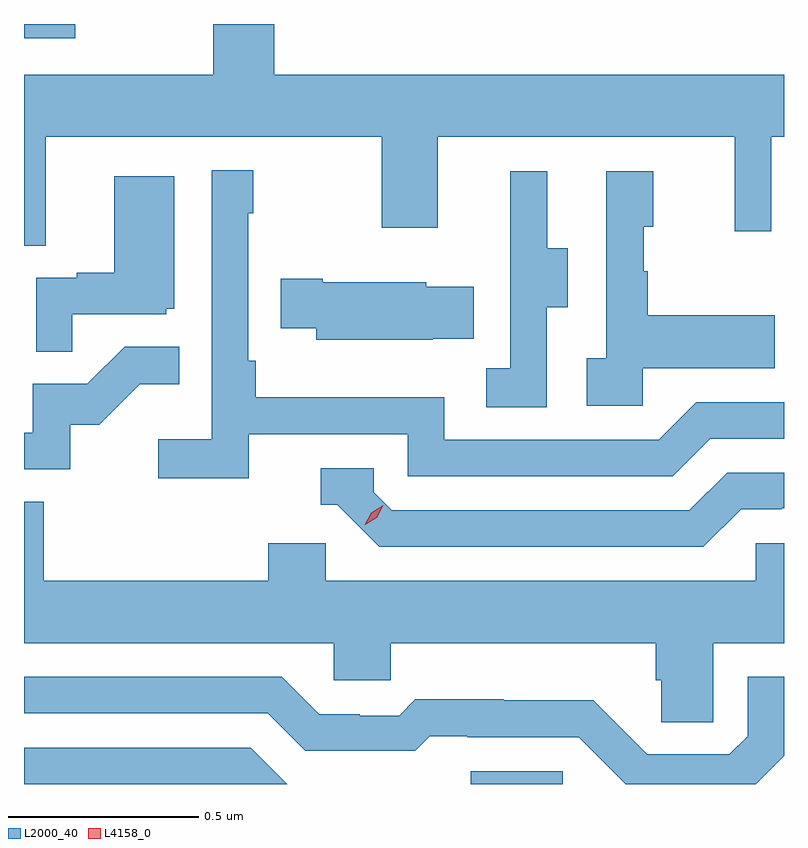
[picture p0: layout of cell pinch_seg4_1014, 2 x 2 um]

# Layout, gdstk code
import gdstk
lib = gdstk.Library(unit=1e-6, precision=1e-09)
def R(c, l, rs):  # rectangles x0, y0, x1, y1
    for r in rs: c.add(gdstk.rectangle(r[:2], r[2:], *l))
def P(c, l, *ps):  # polygons
    for p in ps: c.add(gdstk.Polygon(p, *l))
L2000_40 = (2000, 40)
L4158_0 = (4158, 0)

pinch_seg4_1014 = lib.new_cell('pinch_seg4_1014')
R(pinch_seg4_1014, L2000_40, [(855.813,780.465,856.056,780.498), (854.638,782.427,854.773,782.465)])
P(pinch_seg4_1014, L2000_40, [(854.695,782.168),(855.58,782.168),(855.58,781.929),(855.727,781.929),(855.727,782.168),(856.508,782.168),(856.508,781.92),(856.605,781.92),(856.605,782.168),(856.638,782.168),(856.638,782.332),(855.296,782.332),(855.296,782.465),(855.136,782.465),(855.136,782.332),(854.638,782.332),(854.638,781.882),(854.695,781.882)],
  [(855.23,781.386),(855.648,781.386),(855.648,781.275),(856.345,781.275),(856.444,781.374),(856.638,781.374),(856.638,781.47),(856.407,781.47),(856.308,781.371),(855.744,781.371),(855.744,781.483),(855.248,781.483),(855.248,781.579),(855.228,781.579),(855.228,781.967),(855.241,781.967),(855.241,782.08),(855.132,782.08),(855.132,781.372),(854.991,781.372),(854.991,781.27),(855.23,781.27)],
  [(856.266,781.559),(856.613,781.559),(856.613,781.699),(856.279,781.699),(856.279,781.814),(856.269,781.814),(856.269,781.932),(856.294,781.932),(856.294,782.077),(856.17,782.077),(856.17,781.586),(856.119,781.586),(856.119,781.461),(856.266,781.461)],
  [(856.014,781.72),(856.069,781.72),(856.069,781.875),(856.015,781.875),(856.015,782.077),(855.917,782.077),(855.917,781.863),(855.918,781.863),(855.918,781.559),(855.855,781.559),(855.855,781.456),(856.014,781.456)],
  [(854.765,781.701),(855.012,781.701),(855.012,781.716),(855.034,781.716),(855.034,782.065),(854.876,782.065),(854.876,781.81),(854.777,781.81),(854.777,781.797),(854.67,781.797),(854.67,781.603),(854.765,781.603)],
  [(855.713,781.637),(855.821,781.637),(855.821,781.774),(855.696,781.774),(855.696,781.786),(855.424,781.786),(855.424,781.794),(855.313,781.794),(855.313,781.664),(855.407,781.664),(855.407,781.634),(855.713,781.634)],
  [(854.76,781.41),(854.836,781.41),(854.943,781.517),(855.047,781.517),(855.047,781.616),(854.903,781.616),(854.805,781.518),(854.661,781.518),(854.661,781.389),(854.638,781.389),(854.638,781.293),(854.76,781.293)],
  [(856.525,781.188),(856.632,781.188),(856.632,781.191),(856.638,781.191),(856.638,781.284),(856.488,781.284),(856.389,781.185),(855.606,781.185),(855.558,781.233),(855.558,781.296),(855.419,781.296),(855.419,781.2),(855.462,781.2),(855.573,781.089),(856.426,781.089)],
  [(856.452,780.836),(856.638,780.836),(856.638,781.098),(856.563,781.098),(856.563,781),(855.432,781),(855.432,781.098),(855.281,781.098),(855.281,781),(854.69,781),(854.69,781.208),(854.638,781.208),(854.638,780.836),(855.453,780.836),(855.453,780.738),(855.603,780.738),(855.603,780.836),(856.301,780.836),(856.301,780.738),(856.315,780.738),(856.315,780.628),(856.452,780.628)],
  [(856.638,780.54),(856.638,780.747),(856.542,780.747),(856.542,780.591),(856.494,780.543),(856.278,780.543),(856.136,780.685),(855.9,780.685),(855.9,780.688),(855.667,780.688),(855.625,780.645),(855.522,780.645),(855.522,780.648),(855.415,780.648),(855.316,780.747),(854.638,780.747),(854.638,780.651),(855.279,780.651),(855.378,780.552),(855.667,780.552),(855.706,780.591),(855.805,780.591),(855.805,780.588),(856.098,780.588),(856.221,780.465),(856.563,780.465)],
  [(855.235,780.561),(854.638,780.561),(854.638,780.465),(855.331,780.465)])
P(pinch_seg4_1014, L4158_0, [(855.535,781.147),(855.535,781.147),(855.552,781.179),(855.583,781.198),(855.583,781.198),(855.583,781.198),(855.566,781.166),(855.536,781.147)])

lib.write_gds('pinch_seg4_1014.gds')
